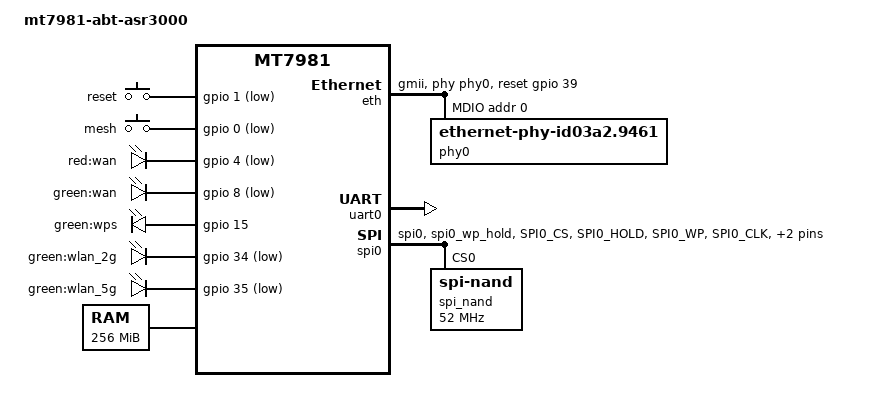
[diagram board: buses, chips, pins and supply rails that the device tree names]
// SPDX-License-Identifier: GPL-2.0-or-later OR MIT

/dts-v1/;
#include "mt7981.dtsi"
#include <dt-bindings/gpio/gpio.h>

/ {
	#address-cells = <1>;
	#size-cells = <1>;
	model = "mt7981-abt-asr3000";
	compatible = "mediatek,mt7981", "mediatek,mt7981-rfb";

	chosen {
		stdout-path = &uart0;
		tick-timer = &timer0;
	};

	config {
		bootcmd = "mtkboardboot";
		blink_led = "red:wan";
		system_led = "green:wps";
	};

	gpio-keys {
		compatible = "gpio-keys";

		button-reset {
			label = "reset";
			linux,code = <KEY_RESTART>;
			gpios = <&gpio 1 GPIO_ACTIVE_LOW>;
		};

		button-mesh {
			label = "mesh";
			linux,code = <BTN_9>;
			gpios = <&gpio 0 GPIO_ACTIVE_LOW>;
		};
	};

	leds {
		compatible = "gpio-leds";

		led-0 {
			label = "red:wan";
			gpios = <&gpio 4 GPIO_ACTIVE_LOW>;
		};

		led-1 {
			label = "green:wan";
			gpios = <&gpio 8 GPIO_ACTIVE_LOW>;
		};

		led-2 {
			label = "green:wps";
			gpios = <&gpio 15 GPIO_ACTIVE_HIGH>;
		};

		led-3 {
			label = "green:wlan_2g";
			gpios = <&gpio 34 GPIO_ACTIVE_LOW>;
		};

		led-4 {
			label = "green:wlan_5g";
			gpios = <&gpio 35 GPIO_ACTIVE_LOW>;
		};

	};
   
	memory@40000000 {
		device_type = "memory";
		reg = <0x40000000 0x10000000>;
	};

	bl2_verify {
		bl2_compatible = "spim-nand";
	};
	
	mtd-layout {
		layout@0 {
			label = "default";
			cmdline = "console=ttyS0,115200n1 loglevel=8 swiotlb=512 firmware=0 mtd=ubi uart_en=1";
			// mtd layout for original asr3000
			mtdids = "nmbm0=nmbm0";
			mtdparts = "nmbm0:1024k(BL2),512k(u-boot-env),1024k(art),1024k(Factory),2048k(Fip),32m(ubi),32m(ubi_backup),4m(Config_backup)";
		};
		
		layout@1 {
			label = "ubi_114m<=>immortalwrt";
			// mtd layout for openwrt 114M ubi firmware
			mtdids = "nmbm0=nmbm0";
			mtdparts = "nmbm0:1024k(bl2),512k(u-boot-env),1024k(art),1024k(factory),2048k(fip),114m(ubi)";
		};

		layout@2 {
			label = "ubi_110.5m<=>immortalwrt,QWRT";
			// mtd layout for openwrt 110.5M ubi firmware
			mtdids = "nmbm0=nmbm0";
			mtdparts = "nmbm0:1024k(bl2),512k(u-boot-env),1024k(art),1024k(factory),2048k(fip),113152k(ubi)";
		};

		layout@3 {
			label = "ubi_108m<=>GECOOS";
			// mtd layout for gecoos ubi firmware
			mtdids = "nmbm0=nmbm0";
			mtdparts = "nmbm0:1024k(bl2),512k(u-boot-env),2048k(factory),2048k(fip),108m(ubi)";
		};
	};
};

&eth {
	reset-gpios = <&gpio 39 GPIO_ACTIVE_HIGH>;
	status = "okay";
/*lan:
	mediatek,sgmiisys = <&sgmiisys0>;
	mediatek,gmac-id = <0>;
	reg = <0x00>;
	phy-mode = "2500base-x";

	fixed-link {
		speed = <0x9c4>;
		full-duplex;
		pause;
	};
*/
//wan:
	mediatek,sgmiisys = <&sgmiisys1>;
	mediatek,gmac-id = <1>;
	phy-mode = "gmii";
	phy-handle = <&phy0>;

	mdio-bus {
		#address-cells = <0x01>;
		#size-cells = <0x00>;

		phy0: ethernet-phy@0 {
			compatible = "ethernet-phy-id03a2.9461";
			reg = <0x00>;
			phy-mode = "gmii";
			nvmem-cells = <0x13>;
			nvmem-cell-names = "phy-cal-data";
		};
	};
};

&uart0 {
	status = "okay";
};

&pinctrl {
	spi_flash_pins: spi0-pins-func-1 {
		mux {
			function = "flash";
			groups = "spi0", "spi0_wp_hold";
		};

		conf-pu {
			pins = "SPI0_CS", "SPI0_HOLD", "SPI0_WP";
			drive-strength = <MTK_DRIVE_8mA>;
			bias-pull-up = <MTK_PUPD_SET_R1R0_11>;
		};

		conf-pd {
			pins = "SPI0_CLK", "SPI0_MOSI", "SPI0_MISO";
			drive-strength = <MTK_DRIVE_8mA>;
			bias-pull-down = <MTK_PUPD_SET_R1R0_11>;
		};
	};
};

&spi0 {
	#address-cells = <1>;
	#size-cells = <0>;
	pinctrl-names = "default";
	pinctrl-0 = <&spi_flash_pins>;
	status = "okay";
	must_tx;
	enhance_timing;
	dma_ext;
	ipm_design;
	support_quad;
	tick_dly = <2>;
	sample_sel = <0>;

	spi_nand@0 {
		compatible = "spi-nand";
		reg = <0>;
		spi-max-frequency = <52000000>;
	};
};

&watchdog {
	status = "disabled";
};
